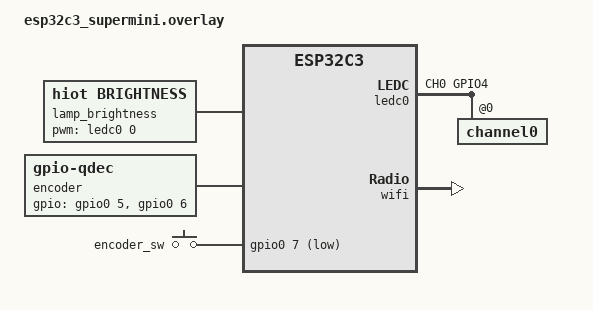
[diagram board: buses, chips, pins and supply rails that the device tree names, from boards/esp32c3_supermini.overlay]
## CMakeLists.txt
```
# SPDX-License-Identifier: Apache-2.0

cmake_minimum_required(VERSION 3.20.0)

# Pull in the ola-home firmware module (firmware/) without relying on west
# module discovery.
list(APPEND ZEPHYR_EXTRA_MODULES ${CMAKE_CURRENT_LIST_DIR}/../..)

find_package(Zephyr REQUIRED HINTS $ENV{ZEPHYR_BASE})
project(lamp)

target_sources(app PRIVATE
  src/main.c
  src/lamp_input.c
)
```

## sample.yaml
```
sample:
  name: ola-home smart lamp
  description: Dimmable lamp with rotary encoder, on/off and off-timer
common:
  build_only: true
  sysbuild: true
  platform_allow:
    - esp32c3_supermini
  integration_platforms:
    - esp32c3_supermini
tests:
  app.lamp: {}
  app.lamp.cct:
    extra_args:
      - EXTRA_DTC_OVERLAY_FILE=variants/cct.overlay
```

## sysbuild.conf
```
# Build MCUboot alongside the app (needed for OTA later).
SB_CONFIG_BOOTLOADER_MCUBOOT=y
```

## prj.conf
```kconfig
# Logging
CONFIG_LOG=y

# hiot core + capabilities
CONFIG_HIOT_CORE=y
CONFIG_HIOT_DEVICE_TYPE="lamp"
CONFIG_HIOT_CAP_SWITCH=y
CONFIG_HIOT_CAP_BRIGHTNESS=y
CONFIG_HIOT_CAP_TIMER=y

# Local input: rotary encoder (gpio-qdec) + button (gpio-keys + longpress)
CONFIG_INPUT=y

# Not yet: networking (step 4), settings/NVS, OTA (step 8)
```

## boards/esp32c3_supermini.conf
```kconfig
# Board-specific config for the lamp on ESP32-C3 SuperMini.
# (Wi-Fi / MQTT options will go here or in prj.conf with step 4.)
```

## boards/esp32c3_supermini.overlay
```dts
/*
 * SPDX-License-Identifier: Apache-2.0
 *
 * Smart lamp on ESP32-C3 SuperMini.
 *
 *   GPIO4  PWM -> D4184 MOSFET (20 kHz)
 *   GPIO5  encoder CLK
 *   GPIO6  encoder DT
 *   GPIO7  encoder SW (internal pull-up)
 *
 * Avoid GPIO2/8/9 (strapping), 18/19 (USB), 20/21 (UART).
 */

#include <zephyr/dt-bindings/pinctrl/esp32c3-pinctrl.h>
#include <zephyr/dt-bindings/pwm/pwm.h>
#include <zephyr/dt-bindings/gpio/gpio.h>
#include <zephyr/dt-bindings/input/input-event-codes.h>

&pinctrl {
	ledc0_default: ledc0_default {
		group1 {
			pinmux = <LEDC_CH0_GPIO4>;
			output-enable;
		};
	};
};

&ledc0 {
	pinctrl-0 = <&ledc0_default>;
	pinctrl-names = "default";
	status = "okay";
	#address-cells = <1>;
	#size-cells = <0>;

	channel0@0 {
		reg = <0x0>;
		timer = <0>;
	};
};

&wifi {
	status = "okay";
};

/ {
	/* ---- Capabilities ---- */

	lamp_brightness: lamp-brightness {
		compatible = "hiot,brightness";
		pwms = <&ledc0 0 PWM_HZ(20000) PWM_POLARITY_NORMAL>;
		fade-ms = <300>;
	};

	lamp_switch: lamp-switch {
		compatible = "hiot,switch";
		target = <&lamp_brightness>;
	};

	lamp_timer: lamp-timer {
		compatible = "hiot,timer";
		target = <&lamp_switch>;
		presets-min = <15 30 60>;
	};

	/* ---- Local input ---- */

	encoder: encoder {
		compatible = "gpio-qdec";
		gpios = <&gpio0 5 (GPIO_PULL_UP | GPIO_ACTIVE_HIGH)>,
			<&gpio0 6 (GPIO_PULL_UP | GPIO_ACTIVE_HIGH)>;
		steps-per-period = <4>;
		zephyr,axis = <INPUT_REL_WHEEL>;
		sample-time-us = <2000>;
		idle-timeout-ms = <200>;
	};

	buttons: buttons {
		compatible = "gpio-keys";

		encoder_sw: encoder_sw {
			gpios = <&gpio0 7 (GPIO_PULL_UP | GPIO_ACTIVE_LOW)>;
			zephyr,code = <INPUT_KEY_ENTER>;
		};
	};

	longpress: longpress {
		compatible = "zephyr,input-longpress";
		input = <&buttons>;
		input-codes = <INPUT_KEY_ENTER>;
		short-codes = <INPUT_KEY_A>;
		long-codes = <INPUT_KEY_X>;
		long-delay-ms = <800>;
	};
};
```

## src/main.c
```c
/*
 * SPDX-License-Identifier: Apache-2.0
 */

#include <zephyr/kernel.h>
#include <zephyr/logging/log.h>

#include <hiot/core.h>

LOG_MODULE_REGISTER(lamp, LOG_LEVEL_INF);

int main(void)
{
	int err = hiot_core_init();

	if (err) {
		LOG_ERR("hiot core init failed (%d)", err);
		return 0;
	}

	LOG_INF("lamp ready");
	return 0;
}
```

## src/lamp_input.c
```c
/*
 * SPDX-License-Identifier: Apache-2.0
 *
 * Local UX:
 *   rotate       -> brightness
 *   short press  -> on/off
 *   long press   -> cycle off-timer (15/30/60 min)
 *
 * Input events go through the same capability path as remote commands.
 * Kept app-specific on purpose: don't abstract input bindings until a
 * second device needs them.
 */

#include <zephyr/device.h>
#include <zephyr/input/input.h>
#include <zephyr/logging/log.h>
#include <zephyr/sys/util.h>

#include <hiot/core.h>
#include <hiot/caps/brightness.h>

LOG_MODULE_REGISTER(lamp_input, LOG_LEVEL_INF);

#define STEP_PER_DETENT 5

static void on_encoder(struct input_event *evt, void *user_data)
{
	ARG_UNUSED(user_data);

	if (evt->type != INPUT_EV_REL || evt->code != INPUT_REL_WHEEL) {
		return;
	}

	struct hiot_cap *cap = hiot_cap_find("lamp-brightness");

	if (cap == NULL) {
		return;
	}

	int level = hiot_brightness_get_level(cap) + evt->value * STEP_PER_DETENT;

	level = CLAMP(level, 0, HIOT_BRIGHTNESS_MAX);
	(void)hiot_brightness_set_level(cap, (uint8_t)level);
	LOG_DBG("brightness %d", level);
}
INPUT_CALLBACK_DEFINE(DEVICE_DT_GET(DT_NODELABEL(encoder)), on_encoder, NULL);

static void on_button(struct input_event *evt, void *user_data)
{
	ARG_UNUSED(user_data);

	if (evt->type != INPUT_EV_KEY || evt->value != 1) {
		return;
	}

	switch (evt->code) {
	case INPUT_KEY_A:
		/* TODO (step 2): toggle the "lamp-switch" capability. */
		LOG_INF("short press");
		break;
	case INPUT_KEY_X:
		/* TODO (step 2): cycle the "lamp-timer" presets. */
		LOG_INF("long press");
		break;
	default:
		break;
	}
}
INPUT_CALLBACK_DEFINE(DEVICE_DT_GET(DT_NODELABEL(longpress)), on_button, NULL);
```
